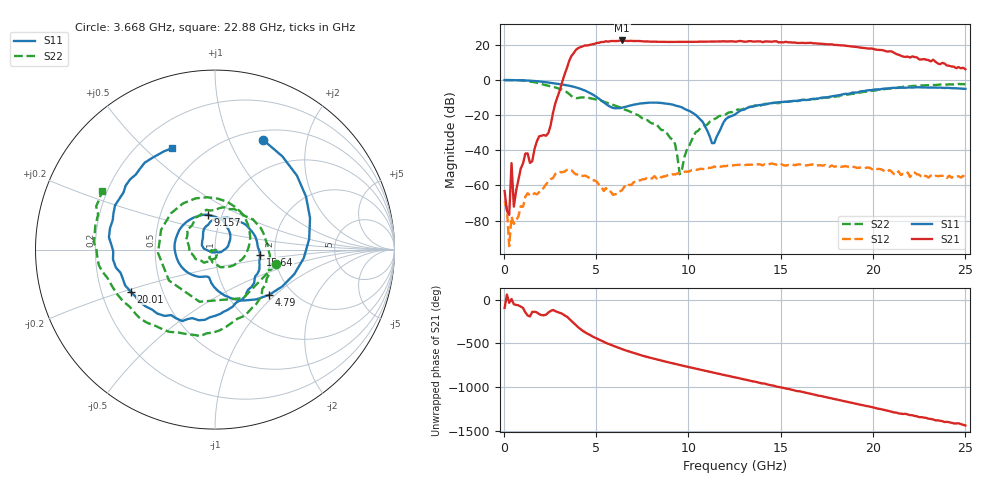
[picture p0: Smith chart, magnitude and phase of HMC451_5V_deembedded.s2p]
!Hittite Microwave Corporation
!20 Alpha Road
!Chelmsford, MA 01824
!Tel: 978-250-3343
!Fax: 978-250-3373
!Device: HMC451, 5-20 GHz, Driver Amplifier Die
!Misc: Vcc = 5V, data includes two K connectors, Room
# MHZ S MA R 50
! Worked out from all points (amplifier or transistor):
!   201 points, 50 MHz to 25 GHz, reference 50 ohm
!   highest |S21| = 22.5 dB at 6.412 GHz (marker M1)
!   |S21| within 3 dB of that: 4.362 GHz to 18.49 GHz (14.12 GHz wide, 124 % of centre)
!   unconditionally stable (mu >= 1): start of sweep to end of sweep
!   at 4.167 GHz: K = 19.36, MAG = 20.8 dB, |S12| = -54.6 dB
!   at 12.53 GHz: K = 10.39, MAG = 21.9 dB, |S12| = -48.4 dB
!   at 25 GHz: K = 43.28, MAG = 11.5 dB, |S12| = -55.6 dB
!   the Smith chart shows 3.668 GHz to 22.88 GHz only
!   S11 on the Smith chart (normalised r, x): 3.668 GHz: 0.61, +1.35; 4.79 GHz: 1.54, -0.92; 9.157 GHz: 0.86, +0.35; 15.64 GHz: 1.67, -0.11; 20.01 GHz: 0.33, -0.21; 22.88 GHz: 0.34, +0.61
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50  0.995 -3.5  0.0006912 -95.2  0.0003477 -32.5  0.995 -3.8
3168.75  0.745 112.1  0.884 -161.4  0.002371 96.0  0.529 97.8
3667.75  0.667 66.2  4.826 115.6  0.002728 56.2  0.35 -13.3
3917.25  0.615 42.1  7.27 66.9  0.002044 31.9  0.303 -106.5
4291.5  0.528 6.4  9.182 0.9  0.001857 19.5  0.32 159.9
4790.5  0.394 -39.7  10.41 -59.9  0.001442 6.4  0.295 98.3
5414.25  0.232 -85.6  12.09 -121.2  0.0006932 -6.0  0.243 46.4
5913.25  0.161 -101.4  12.93 -167.1  0.000542 22.8  0.197 11.1
6412.25  0.163 -112.3  13.36 153.2  0.0007305 45.4  0.159 -20.8
7285.5  0.21 -152.9  12.92 93.4  0.001368 45.6  0.1 -74.6
8408.25  0.225 144.1  12.22 29.0  0.001839 26.7  0.045 -128.9
9156.75  0.199 102.0  12.12 -9.3  0.002068 24.7  0.02 -170.7
10778.5  0.064 7.0  12.36 -87.7  0.002922 1.4  0.047 -86.1
12525  0.104 130.0  12.34 -170.0  0.003803 -30.5  0.131 -169.9
14271.5  0.208 47.5  12.52 109.8  0.003836 -66.6  0.207 118.7
15643.75  0.253 -6.7  11.64 46.5  0.003906 -87.2  0.25 60.7
16766.5  0.291 -45.5  11.03 -4.7  0.003883 -111.2  0.286 15.7
18388.25  0.395 -98.1  9.636 -79.2  0.003454 -141.6  0.371 -48.0
20010  0.525 -153.5  7.677 -153.3  0.002761 -176.0  0.497 -108.8
20883.25  0.578 177.3  6.548 164.5  0.002742 166.6  0.569 -140.4
22879.25  0.613 113.0  3.781 87.4  0.001834 140.3  0.708 152.6
25000  0.559 49.5  2.022 0.7  0.001668 113.9  0.756 86.9
